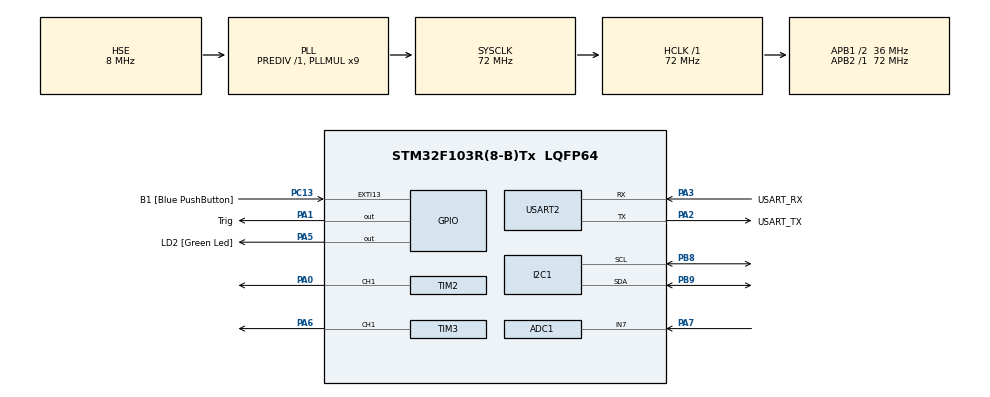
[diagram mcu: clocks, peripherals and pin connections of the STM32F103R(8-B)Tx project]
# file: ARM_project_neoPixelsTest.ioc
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ADC1.Channel-0\#ChannelRegularConversion=ADC_CHANNEL_7
ADC1.NbrOfConversionFlag=1
ADC1.Rank-0\#ChannelRegularConversion=1
ADC1.SamplingTime-0\#ChannelRegularConversion=ADC_SAMPLETIME_1CYCLE_5
ADC1.master=1
Dma.Request0=TIM3_CH1/TRIG
Dma.TIM3_CH1/TRIG.0.Direction=DMA_MEMORY_TO_PERIPH
Dma.TIM3_CH1/TRIG.0.Instance=DMA1_Channel6
Dma.TIM3_CH1/TRIG.0.MemDataAlignment=DMA_MDATAALIGN_HALFWORD
Dma.TIM3_CH1/TRIG.0.MemInc=DMA_MINC_ENABLE
Dma.TIM3_CH1/TRIG.0.Mode=DMA_NORMAL
Dma.TIM3_CH1/TRIG.0.PeriphDataAlignment=DMA_PDATAALIGN_HALFWORD
Dma.TIM3_CH1/TRIG.0.PeriphInc=DMA_PINC_DISABLE
Dma.TIM3_CH1/TRIG.0.Priority=DMA_PRIORITY_LOW
Mcu.Family=STM32F1
Mcu.Name=STM32F103R(8-B)Tx
Mcu.Package=LQFP64
NVIC.ADC1_2_IRQn=true\:0\:0\:false\:false\:true\:true\:true\:true
NVIC.DMA1_Channel6_IRQn=true\:0\:0\:false\:false\:true\:false\:true\:true
NVIC.EXTI15_10_IRQn=true\:0\:0\:false\:false\:true\:true\:true\:true
NVIC.PriorityGroup=NVIC_PRIORITYGROUP_4
PA0-WKUP.Signal=S_TIM2_CH1_ETR
PA1.GPIO_Label=Trig
PA1.Signal=GPIO_Output
PA13.GPIO_Label=TMS
PA13.Mode=Serial_Wire
PA13.Signal=SYS_JTMS-SWDIO
PA14.GPIO_Label=TCK
PA14.Mode=Serial_Wire
PA14.Signal=SYS_JTCK-SWCLK
PA2.GPIO_Label=USART_TX
PA2.GPIO_Mode=GPIO_MODE_AF_PP
PA2.GPIO_PuPd=GPIO_NOPULL
PA2.GPIO_Speed=GPIO_SPEED_FREQ_LOW
PA2.Mode=Asynchronous
PA2.Signal=USART2_TX
PA3.GPIO_Label=USART_RX
PA3.GPIO_Mode=GPIO_MODE_AF_PP
PA3.GPIO_PuPd=GPIO_NOPULL
PA3.GPIO_Speed=GPIO_SPEED_FREQ_LOW
PA3.Mode=Asynchronous
PA3.Signal=USART2_RX
PA5.GPIO_Label=LD2 [Green Led]
PA5.GPIO_ModeDefaultOutputPP=GPIO_MODE_OUTPUT_PP
PA5.GPIO_PuPd=GPIO_NOPULL
PA5.GPIO_Speed=GPIO_SPEED_FREQ_LOW
PA5.Signal=GPIO_Output
PA6.Signal=S_TIM3_CH1
PA7.Signal=ADCx_IN7
PB3.GPIO_Label=SWO
PB3.Signal=SYS_JTDO-TRACESWO
PB8.Mode=I2C
PB8.Signal=I2C1_SCL
PB9.Mode=I2C
PB9.Signal=I2C1_SDA
PC13-TAMPER-RTC.GPIO_Label=B1 [Blue PushButton]
PC13-TAMPER-RTC.GPIO_PuPd=GPIO_NOPULL
PC13-TAMPER-RTC.Signal=GPXTI13
PC14-OSC32_IN.Mode=LSE-External-Oscillator
PC14-OSC32_IN.Signal=RCC_OSC32_IN
PC15-OSC32_OUT.Mode=LSE-External-Oscillator
PC15-OSC32_OUT.Signal=RCC_OSC32_OUT
PD0-OSC_IN.Mode=HSE-External-Clock-Source
PD0-OSC_IN.Signal=RCC_OSC_IN
PD1-OSC_OUT.Mode=HSE-External-Clock-Source
PD1-OSC_OUT.Signal=RCC_OSC_OUT
ProjectManager.HeapSize=0x200
ProjectManager.StackSize=0x400
ProjectManager.TargetToolchain=STM32CubeIDE
RCC.ADCPresc=RCC_ADCPCLK2_DIV8
RCC.AHBFreq_Value=72000000
RCC.APB1CLKDivider=RCC_HCLK_DIV2
RCC.APB1Freq_Value=36000000
RCC.APB1TimFreq_Value=72000000
RCC.APB2Freq_Value=72000000
RCC.APB2TimFreq_Value=72000000
RCC.HCLKFreq_Value=72000000
RCC.PLLMUL=RCC_PLL_MUL9
RCC.PLLSourceVirtual=RCC_PLLSOURCE_HSE
RCC.RTCClockSelection=RCC_RTCCLKSOURCE_LSE
RCC.SYSCLKFreq_VALUE=72000000
RCC.SYSCLKSource=RCC_SYSCLKSOURCE_PLLCLK
RCC.USBFreq_Value=72000000
SH.ADCx_IN7.0=ADC1_IN7,IN7
SH.S_TIM2_CH1_ETR.0=TIM2_CH1,PWM Generation1 CH1
SH.S_TIM3_CH1.0=TIM3_CH1,PWM Generation1 CH1
TIM2.Channel-PWM\ Generation1\ CH1=TIM_CHANNEL_1
TIM2.Period=65535
TIM2.Prescaler=72-1
TIM3.Channel-PWM\ Generation1\ CH1=TIM_CHANNEL_1
TIM3.Period=90-1
TIM4.Period=65535
TIM4.Prescaler=72-1
USART2.VirtualMode=VM_ASYNC
VP_TIM2_VS_ClockSourceINT.Mode=Internal
VP_TIM3_VS_ClockSourceINT.Mode=Internal
VP_TIM4_VS_ClockSourceINT.Mode=Internal
board=NUCLEO-F103RB

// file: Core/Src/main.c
/* USER CODE BEGIN Header */
/**
 ******************************************************************************
 * @file           : main.c
 * @brief          : Main program body
 ******************************************************************************
 * @attention
 *
 * Copyright (c) 2022 STMicroelectronics.
 * All rights reserved.
 *
 * This software is licensed under terms that can be found in the LICENSE file
 * in the root directory of this software component.
 * If no LICENSE file comes with this software, it is provided AS-IS.
 *
 ******************************************************************************
 */
/* USER CODE END Header */
#include "main.h"

/* USER CODE BEGIN Includes */
#include "math.h"
/* USER CODE END Includes */

 ADC_HandleTypeDef hadc1;

I2C_HandleTypeDef hi2c1;

TIM_HandleTypeDef htim2;
TIM_HandleTypeDef htim3;
TIM_HandleTypeDef htim4;
DMA_HandleTypeDef hdma_tim3_ch1_trig;

UART_HandleTypeDef huart2;

/* USER CODE BEGIN PV */
#define MAX_LED 12
#define USE_BRIGHTNESS 1
#define PI 3.14159265

uint8_t LED_Data[MAX_LED][4];
uint8_t LED_Mod[MAX_LED][4];  // for brightness
uint16_t pwmData[(24 * MAX_LED) + 50];

int datasentflag = 0;

/* USER CODE END PV */

void SystemClock_Config(void);
static void MX_GPIO_Init(void);
static void MX_USART2_UART_Init(void);
static void MX_DMA_Init(void);
static void MX_TIM4_Init(void);
static void MX_TIM2_Init(void);
static void MX_TIM3_Init(void);
static void MX_ADC1_Init(void);
static void MX_I2C1_Init(void);

/* USER CODE BEGIN 0 */

void HAL_TIM_PWM_PulseFinishedCallback(TIM_HandleTypeDef *htim) {
	HAL_TIM_PWM_Stop_DMA(&htim3, TIM_CHANNEL_1);
	datasentflag = 1;
}

void Set_LED(int LEDnum, int Red, int Green, int Blue) {
	LED_Data[LEDnum][0] = LEDnum;
	LED_Data[LEDnum][1] = Green;
	LED_Data[LEDnum][2] = Red;
	LED_Data[LEDnum][3] = Blue;
}

void Set_Brightness(int brightness)  // 0-45
{
#if USE_BRIGHTNESS

	if (brightness > 45) brightness = 45;
	for (int i=0; i<MAX_LED; i++)
	{
		LED_Mod[i][0] = LED_Data[i][0];
		for (int j=1; j<4; j++)
		{
			float angle = 90-brightness;  // in degrees
			angle = angle*PI / 180;  // in rad
			LED_Mod[i][j] = (LED_Data[i][j])/(tan(angle));
		}
	}

#endif

}

void WS2812_Send(void) {
	uint32_t indx = 0;
	uint32_t color;

	for (int i = 0; i < MAX_LED; i++) {
#if USE_BRIGHTNESS
		color = ((LED_Mod[i][1]<<16) | (LED_Mod[i][2]<<8) | (LED_Mod[i][3]));
#else
		color = ((LED_Data[i][1] << 16) | (LED_Data[i][2] << 8)
				| (LED_Data[i][3]));
#endif

		for (int i = 23; i >= 0; i--) {
			if (color & (1 << i)) {
				pwmData[indx] = 60;  // 2/3 of 90
			}

			else
				pwmData[indx] = 30;  // 1/3 of 90

			indx++;
		}

	}

	for (int i = 0; i < 50; i++) {
		pwmData[indx] = 0;
		indx++;
	}

	HAL_TIM_PWM_Start_DMA(&htim3, TIM_CHANNEL_1, (uint32_t*) pwmData, indx);
	while (!datasentflag) {
	};
	datasentflag = 0;
}

void Reset_LED(void) {
	for (int i = 0; i < MAX_LED; i++) {
		LED_Data[i][0] = i;
		LED_Data[i][1] = 0;
		LED_Data[i][2] = 0;
		LED_Data[i][3] = 0;
	}
}

/* USER CODE END 0 */

int main(void)
{

  /* MCU Configuration--------------------------------------------------------*/

  /* Reset of all peripherals, Initializes the Flash interface and the Systick. */
  HAL_Init();

  /* Configure the system clock */
  SystemClock_Config();

  /* Initialize all configured peripherals */
  MX_GPIO_Init();
  MX_USART2_UART_Init();
  MX_DMA_Init();
  MX_TIM4_Init();
  MX_TIM2_Init();
  MX_TIM3_Init();
  MX_ADC1_Init();
  MX_I2C1_Init();
  /* USER CODE BEGIN 2 */
/*	Set_LED(0, 255, 0, 0);
	Set_LED(1, 0, 255, 0);
	Set_LED(2, 0, 0, 255);

	Set_LED(3, 46, 89, 128);

	Set_LED(4, 156, 233, 100);
	Set_LED(5, 102, 0, 235);
	Set_LED(6, 47, 38, 77);

	Set_LED(7, 255, 200, 0);

	Set_LED(8, 255, 0, 0);
	Set_LED(9, 0, 255, 0);
	Set_LED(10, 0, 0, 255);

	Set_LED(11, 46, 89, 128);*/

//	Set_Brightness(45);
//	WS2812_Send();
  /* USER CODE END 2 */

  /* Infinite loop */
  /* USER CODE BEGIN WHILE */
	while (1) {
		for (int i = 0; i < 46; i++) {
			Set_Brightness(i);
			WS2812_Send();
			HAL_Delay(50);
		}

		for (int i = 45; i >= 0; i--) {
			Set_Brightness(i);
			WS2812_Send();
			HAL_Delay(50);
		}
    /* USER CODE END WHILE */

	}
}

void SystemClock_Config(void)
{
  RCC_OscInitTypeDef RCC_OscInitStruct = {0};
  RCC_ClkInitTypeDef RCC_ClkInitStruct = {0};
  RCC_PeriphCLKInitTypeDef PeriphClkInit = {0};

  /** Initializes the RCC Oscillators according to the specified parameters
  * in the RCC_OscInitTypeDef structure.
  */
  RCC_OscInitStruct.OscillatorType = RCC_OSCILLATORTYPE_HSE;
  RCC_OscInitStruct.HSEState = RCC_HSE_BYPASS;
  RCC_OscInitStruct.HSEPredivValue = RCC_HSE_PREDIV_DIV1;
  RCC_OscInitStruct.HSIState = RCC_HSI_ON;
  RCC_OscInitStruct.PLL.PLLState = RCC_PLL_ON;
  RCC_OscInitStruct.PLL.PLLSource = RCC_PLLSOURCE_HSE;
  RCC_OscInitStruct.PLL.PLLMUL = RCC_PLL_MUL9;
  if (HAL_RCC_OscConfig(&RCC_OscInitStruct) != HAL_OK)
  {
    Error_Handler();
  }

  /** Initializes the CPU, AHB and APB buses clocks
  */
  RCC_ClkInitStruct.ClockType = RCC_CLOCKTYPE_HCLK|RCC_CLOCKTYPE_SYSCLK
                              |RCC_CLOCKTYPE_PCLK1|RCC_CLOCKTYPE_PCLK2;
  RCC_ClkInitStruct.SYSCLKSource = RCC_SYSCLKSOURCE_PLLCLK;
  RCC_ClkInitStruct.AHBCLKDivider = RCC_SYSCLK_DIV1;
  RCC_ClkInitStruct.APB1CLKDivider = RCC_HCLK_DIV2;
  RCC_ClkInitStruct.APB2CLKDivider = RCC_HCLK_DIV1;

  if (HAL_RCC_ClockConfig(&RCC_ClkInitStruct, FLASH_LATENCY_2) != HAL_OK)
  {
    Error_Handler();
  }
  PeriphClkInit.PeriphClockSelection = RCC_PERIPHCLK_ADC;
  PeriphClkInit.AdcClockSelection = RCC_ADCPCLK2_DIV8;
  if (HAL_RCCEx_PeriphCLKConfig(&PeriphClkInit) != HAL_OK)
  {
    Error_Handler();
  }
}

static void MX_ADC1_Init(void)
{

  ADC_ChannelConfTypeDef sConfig = {0};

  /** Common config
  */
  hadc1.Instance = ADC1;
  hadc1.Init.ScanConvMode = ADC_SCAN_DISABLE;
  hadc1.Init.ContinuousConvMode = DISABLE;
  hadc1.Init.DiscontinuousConvMode = DISABLE;
  hadc1.Init.ExternalTrigConv = ADC_SOFTWARE_START;
  hadc1.Init.DataAlign = ADC_DATAALIGN_RIGHT;
  hadc1.Init.NbrOfConversion = 1;
  if (HAL_ADC_Init(&hadc1) != HAL_OK)
  {
    Error_Handler();
  }

  /** Configure Regular Channel
  */
  sConfig.Channel = ADC_CHANNEL_7;
  sConfig.Rank = ADC_REGULAR_RANK_1;
  sConfig.SamplingTime = ADC_SAMPLETIME_1CYCLE_5;
  if (HAL_ADC_ConfigChannel(&hadc1, &sConfig) != HAL_OK)
  {
    Error_Handler();
  }

}

static void MX_I2C1_Init(void)
{

  hi2c1.Instance = I2C1;
  hi2c1.Init.ClockSpeed = 100000;
  hi2c1.Init.DutyCycle = I2C_DUTYCYCLE_2;
  hi2c1.Init.OwnAddress1 = 0;
  hi2c1.Init.AddressingMode = I2C_ADDRESSINGMODE_7BIT;
  hi2c1.Init.DualAddressMode = I2C_DUALADDRESS_DISABLE;
  hi2c1.Init.OwnAddress2 = 0;
  hi2c1.Init.GeneralCallMode = I2C_GENERALCALL_DISABLE;
  hi2c1.Init.NoStretchMode = I2C_NOSTRETCH_DISABLE;
  if (HAL_I2C_Init(&hi2c1) != HAL_OK)
  {
    Error_Handler();
  }

}

static void MX_TIM2_Init(void)
{

  TIM_ClockConfigTypeDef sClockSourceConfig = {0};
  TIM_MasterConfigTypeDef sMasterConfig = {0};
  TIM_OC_InitTypeDef sConfigOC = {0};

  htim2.Instance = TIM2;
  htim2.Init.Prescaler = 72-1;
  htim2.Init.CounterMode = TIM_COUNTERMODE_UP;
  htim2.Init.Period = 65535;
  htim2.Init.ClockDivision = TIM_CLOCKDIVISION_DIV1;
  htim2.Init.AutoReloadPreload = TIM_AUTORELOAD_PRELOAD_DISABLE;
  if (HAL_TIM_Base_Init(&htim2) != HAL_OK)
  {
    Error_Handler();
  }
  sClockSourceConfig.ClockSource = TIM_CLOCKSOURCE_INTERNAL;
  if (HAL_TIM_ConfigClockSource(&htim2, &sClockSourceConfig) != HAL_OK)
  {
    Error_Handler();
  }
  if (HAL_TIM_PWM_Init(&htim2) != HAL_OK)
  {
    Error_Handler();
  }
  sMasterConfig.MasterOutputTrigger = TIM_TRGO_RESET;
  sMasterConfig.MasterSlaveMode = TIM_MASTERSLAVEMODE_DISABLE;
  if (HAL_TIMEx_MasterConfigSynchronization(&htim2, &sMasterConfig) != HAL_OK)
  {
    Error_Handler();
  }
  sConfigOC.OCMode = TIM_OCMODE_PWM1;
  sConfigOC.Pulse = 0;
  sConfigOC.OCPolarity = TIM_OCPOLARITY_HIGH;
  sConfigOC.OCFastMode = TIM_OCFAST_DISABLE;
  if (HAL_TIM_PWM_ConfigChannel(&htim2, &sConfigOC, TIM_CHANNEL_1) != HAL_OK)
  {
    Error_Handler();
  }
  HAL_TIM_MspPostInit(&htim2);

}

static void MX_TIM3_Init(void)
{

  TIM_ClockConfigTypeDef sClockSourceConfig = {0};
  TIM_MasterConfigTypeDef sMasterConfig = {0};
  TIM_OC_InitTypeDef sConfigOC = {0};

  htim3.Instance = TIM3;
  htim3.Init.Prescaler = 0;
  htim3.Init.CounterMode = TIM_COUNTERMODE_UP;
  htim3.Init.Period = 90-1;
  htim3.Init.ClockDivision = TIM_CLOCKDIVISION_DIV1;
  htim3.Init.AutoReloadPreload = TIM_AUTORELOAD_PRELOAD_DISABLE;
  if (HAL_TIM_Base_Init(&htim3) != HAL_OK)
  {
    Error_Handler();
  }
  sClockSourceConfig.ClockSource = TIM_CLOCKSOURCE_INTERNAL;
  if (HAL_TIM_ConfigClockSource(&htim3, &sClockSourceConfig) != HAL_OK)
  {
    Error_Handler();
  }
  if (HAL_TIM_PWM_Init(&htim3) != HAL_OK)
  {
    Error_Handler();
  }
  sMasterConfig.MasterOutputTrigger = TIM_TRGO_RESET;
  sMasterConfig.MasterSlaveMode = TIM_MASTERSLAVEMODE_DISABLE;
  if (HAL_TIMEx_MasterConfigSynchronization(&htim3, &sMasterConfig) != HAL_OK)
  {
    Error_Handler();
  }
  sConfigOC.OCMode = TIM_OCMODE_PWM1;
  sConfigOC.Pulse = 0;
  sConfigOC.OCPolarity = TIM_OCPOLARITY_HIGH;
  sConfigOC.OCFastMode = TIM_OCFAST_DISABLE;
  if (HAL_TIM_PWM_ConfigChannel(&htim3, &sConfigOC, TIM_CHANNEL_1) != HAL_OK)
  {
    Error_Handler();
  }
  HAL_TIM_MspPostInit(&htim3);

}

static void MX_TIM4_Init(void)
{

  TIM_ClockConfigTypeDef sClockSourceConfig = {0};
  TIM_MasterConfigTypeDef sMasterConfig = {0};

  htim4.Instance = TIM4;
  htim4.Init.Prescaler = 72-1;
  htim4.Init.CounterMode = TIM_COUNTERMODE_UP;
  htim4.Init.Period = 65535;
  htim4.Init.ClockDivision = TIM_CLOCKDIVISION_DIV1;
  htim4.Init.AutoReloadPreload = TIM_AUTORELOAD_PRELOAD_DISABLE;
  if (HAL_TIM_Base_Init(&htim4) != HAL_OK)
  {
    Error_Handler();
  }
  sClockSourceConfig.ClockSource = TIM_CLOCKSOURCE_INTERNAL;
  if (HAL_TIM_ConfigClockSource(&htim4, &sClockSourceConfig) != HAL_OK)
  {
    Error_Handler();
  }
  sMasterConfig.MasterOutputTrigger = TIM_TRGO_RESET;
  sMasterConfig.MasterSlaveMode = TIM_MASTERSLAVEMODE_DISABLE;
  if (HAL_TIMEx_MasterConfigSynchronization(&htim4, &sMasterConfig) != HAL_OK)
  {
    Error_Handler();
  }

}

static void MX_USART2_UART_Init(void)
{

  huart2.Instance = USART2;
  huart2.Init.BaudRate = 115200;
  huart2.Init.WordLength = UART_WORDLENGTH_8B;
  huart2.Init.StopBits = UART_STOPBITS_1;
  huart2.Init.Parity = UART_PARITY_NONE;
  huart2.Init.Mode = UART_MODE_TX_RX;
  huart2.Init.HwFlowCtl = UART_HWCONTROL_NONE;
  huart2.Init.OverSampling = UART_OVERSAMPLING_16;
  if (HAL_UART_Init(&huart2) != HAL_OK)
  {
    Error_Handler();
  }

}

static void MX_DMA_Init(void)
{

  /* DMA controller clock enable */
  __HAL_RCC_DMA1_CLK_ENABLE();

  /* DMA interrupt init */
  /* DMA1_Channel6_IRQn interrupt configuration */
  HAL_NVIC_SetPriority(DMA1_Channel6_IRQn, 0, 0);
  HAL_NVIC_EnableIRQ(DMA1_Channel6_IRQn);

}

static void MX_GPIO_Init(void)
{
  GPIO_InitTypeDef GPIO_InitStruct = {0};

  /* GPIO Ports Clock Enable */
  __HAL_RCC_GPIOC_CLK_ENABLE();
  __HAL_RCC_GPIOD_CLK_ENABLE();
  __HAL_RCC_GPIOA_CLK_ENABLE();
  __HAL_RCC_GPIOB_CLK_ENABLE();

  /*Configure GPIO pin Output Level */
  HAL_GPIO_WritePin(GPIOA, Trig_Pin|LD2_Pin, GPIO_PIN_RESET);

  /*Configure GPIO pin : B1_Pin */
  GPIO_InitStruct.Pin = B1_Pin;
  GPIO_InitStruct.Mode = GPIO_MODE_IT_RISING;
  GPIO_InitStruct.Pull = GPIO_NOPULL;
  HAL_GPIO_Init(B1_GPIO_Port, &GPIO_InitStruct);

  /*Configure GPIO pins : Trig_Pin LD2_Pin */
  GPIO_InitStruct.Pin = Trig_Pin|LD2_Pin;
  GPIO_InitStruct.Mode = GPIO_MODE_OUTPUT_PP;
  GPIO_InitStruct.Pull = GPIO_NOPULL;
  GPIO_InitStruct.Speed = GPIO_SPEED_FREQ_LOW;
  HAL_GPIO_Init(GPIOA, &GPIO_InitStruct);

  /* EXTI interrupt init*/
  HAL_NVIC_SetPriority(EXTI15_10_IRQn, 0, 0);
  HAL_NVIC_EnableIRQ(EXTI15_10_IRQn);

}

void Error_Handler(void)
{
	__disable_irq();
	while (1) {
	}
}
